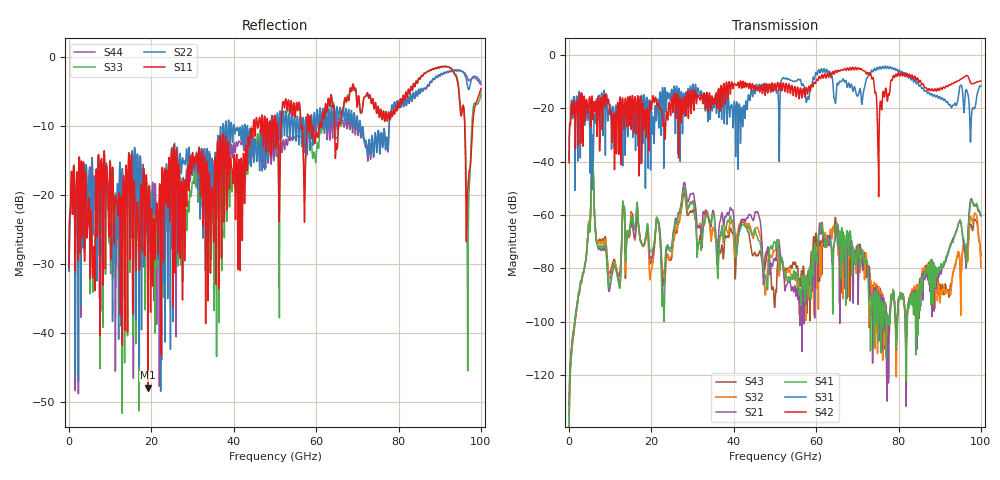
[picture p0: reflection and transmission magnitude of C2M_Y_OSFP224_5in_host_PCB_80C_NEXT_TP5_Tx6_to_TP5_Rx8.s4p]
# GHz S RI R 45
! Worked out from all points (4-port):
!   4000 points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, 25 MHz to 100 GHz, reference 45 ohm
!   strongest paths, dB at 25 MHz, 25.02 GHz, 50.02 GHz, 75.03 GHz, 100 GHz:
!     S42: -40.5, -15.8, -10.8, -37.7, -9.9
!     S31: -39.4, -13.8, -11.5, -5.4, -11.7
!     S41: -139.1, -71.6, -70.1, -101.1, -60.0
!     S21: -139.5, -70.8, -76.5, -89.1, -60.3
!     S32: -135.4, -73.9, -73.2, -91.0, -79.5
!     S43: -130.9, -74.8, -92.8, -89.3, -75.3
!   lowest |S11| = -47.9 dB at 19.12 GHz (marker M1), VSWR 1.01, Z = 45.3 + j0.14 ohm
!   |S11| at or under -10 dB: start of sweep to 44.74 GHz; 59.32 GHz to 60.78 GHz (1.455 GHz wide, 2.42 % of centre); 96.08 GHz to 98.01 GHz (1.929 GHz wide, 1.99 % of centre) (the widest 3 of 19)
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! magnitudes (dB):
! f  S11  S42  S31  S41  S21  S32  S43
! 25 MHz  -30.5  -40.5  -39.4  -139.1  -139.5  -135.4  -130.9
! 5.725 GHz  -31.7  -18.6  -30.1  -39.4  -39.4  -39.3  -39.3
! 9.75 GHz  -22.3  -19.1  -22.4  -86.6  -88.6  -83.4  -81.6
! 19.12 GHz  -47.9  -21.2  -23.8  -63.5  -64.7  -66.9  -65.2
! 27.98 GHz  -22.6  -17.1  -17.4  -49.8  -47.8  -49.8  -51.8
! 52.55 GHz  -6.1  -11.7  -8.8  -83.4  -87.6  -84.2  -80.6
! 100 GHz  -4.6  -9.9  -11.7  -60.0  -60.3  -79.5  -75.3
